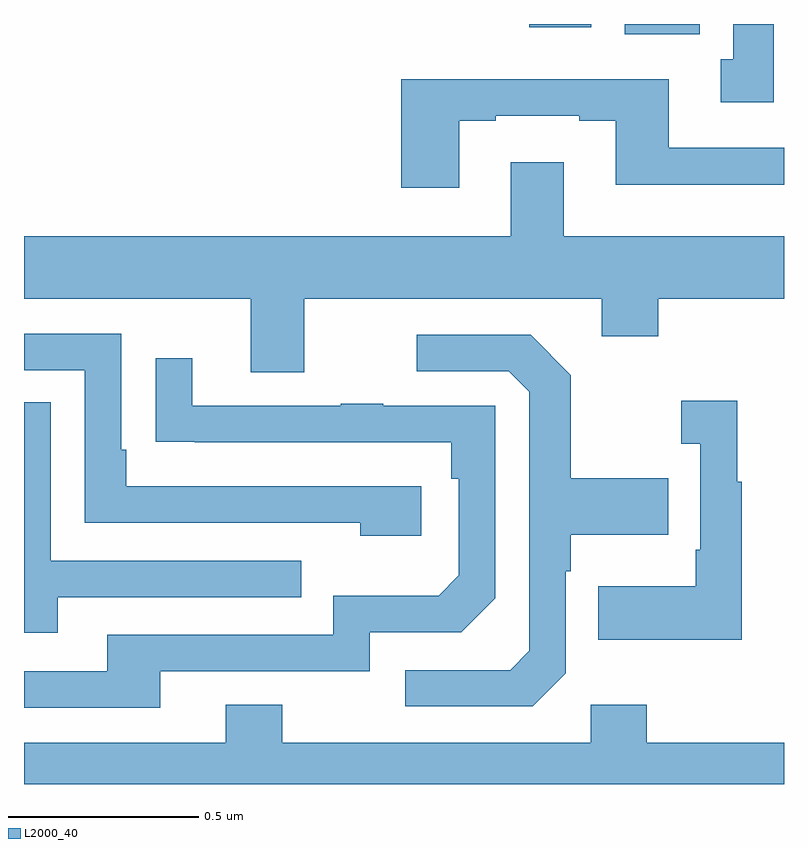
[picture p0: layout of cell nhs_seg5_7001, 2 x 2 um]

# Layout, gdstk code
import gdstk
lib = gdstk.Library(unit=1e-6, precision=1e-09)
def R(c, l, rs):  # rectangles x0, y0, x1, y1
    for r in rs: c.add(gdstk.rectangle(r[:2], r[2:], *l))
def P(c, l, *ps):  # polygons
    for p in ps: c.add(gdstk.Polygon(p, *l))
L2000_40 = (2000, 40)

nhs_seg5_7001 = lib.new_cell('nhs_seg5_7001')
R(nhs_seg5_7001, L2000_40, [(204.581,874.772,204.778,874.799), (204.329,874.79,204.493,874.799)])
P(nhs_seg5_7001, L2000_40, [(204.973,874.799),(204.866,874.799),(204.866,874.706),(204.833,874.706),(204.833,874.593),(204.973,874.593)],
  [(204.145,874.545),(204.241,874.545),(204.241,874.557),(204.461,874.557),(204.461,874.545),(204.557,874.545),(204.557,874.376),(205,874.376),(205,874.473),(204.697,874.473),(204.697,874.654),(203.993,874.654),(203.993,874.368),(204.145,874.368)],
  [(203.737,874.076),(204.521,874.076),(204.521,873.977),(204.669,873.977),(204.669,874.076),(205,874.076),(205,874.24),(204.421,874.24),(204.421,874.435),(204.281,874.435),(204.281,874.24),(203,874.24),(203,874.076),(203.597,874.076),(203.597,873.882),(203.737,873.882)],
  [(204.046,873.582),(203.269,873.582),(203.269,873.679),(203.256,873.679),(203.256,873.984),(203,873.984),(203,873.888),(203.16,873.888),(203.16,873.486),(203.885,873.486),(203.885,873.452),(204.046,873.452)],
  [(204.426,873.09),(204.426,873.359),(204.439,873.359),(204.439,873.455),(204.695,873.455),(204.695,873.603),(204.439,873.603),(204.439,873.875),(204.333,873.981),(204.033,873.981),(204.033,873.885),(204.276,873.885),(204.33,873.831),(204.33,873.15),(204.279,873.099),(204.003,873.099),(204.003,873.003),(204.339,873.003)],
  [(203.359,873.096),(203.91,873.096),(203.91,873.198),(204.15,873.198),(204.24,873.288),(204.24,873.795),(203.945,873.795),(203.945,873.8),(203.833,873.8),(203.833,873.795),(203.443,873.795),(203.443,873.919),(203.347,873.919),(203.347,873.7),(203.449,873.7),(203.449,873.699),(204.124,873.699),(204.124,873.602),(204.144,873.602),(204.144,873.348),(204.091,873.295),(203.814,873.295),(203.814,873.192),(203.219,873.192),(203.219,873.096),(203,873.096),(203,873),(203.359,873)],
  [(204.889,873.595),(204.877,873.595),(204.877,873.808),(204.729,873.808),(204.729,873.695),(204.78,873.695),(204.78,873.415),(204.768,873.415),(204.768,873.319),(204.511,873.319),(204.511,873.179),(204.889,873.179)],
  [(203.089,873.291),(203.729,873.291),(203.729,873.387),(203.07,873.387),(203.07,873.803),(203,873.803),(203,873.197),(203.089,873.197)],
  [(205,872.908),(204.639,872.908),(204.639,873.007),(204.492,873.007),(204.492,872.908),(203.679,872.908),(203.679,873.007),(203.531,873.007),(203.531,872.908),(203,872.908),(203,872.799),(205,872.799)])

lib.write_gds('nhs_seg5_7001.gds')
